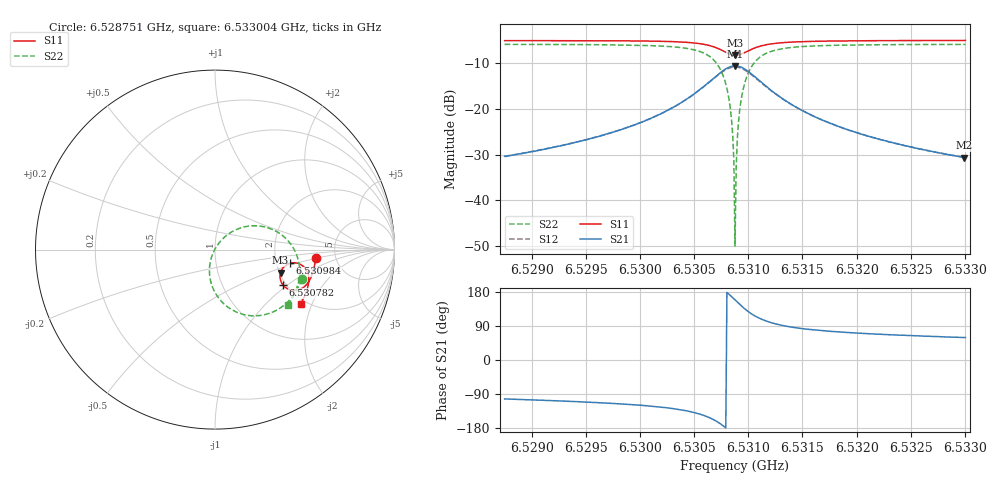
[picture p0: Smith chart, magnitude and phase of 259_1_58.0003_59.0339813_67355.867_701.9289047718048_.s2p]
#  HZ  S  RI  R  50.00
! Rohde & Schwarz Vector Network Analyzer
! Rohde-Schwarz,ZNB20-2Port,1311601062101988,3.16
! Created: UTC 3/21/2024, 1:01:53 AM
! freq[Hz]  re:S11  im:S11  re:S21  im:S21  re:S12  im:S12  re:S22  im:S22
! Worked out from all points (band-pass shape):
!   401 points, 6.528751 GHz to 6.533004 GHz, reference 50 ohm
!   highest |S21| = -10.54 dB at 6.530877 GHz (marker M1); lowest = -30.7 dB at 6.532993 GHz (marker M2)
!   |S21| within 3 dB of the highest: 6.530666 GHz to 6.531091 GHz (424.9 kHz wide, 0.00651 % of centre)
!   lowest |S11| = -8.2 dB at 6.530877 GHz (marker M3), VSWR 2.26, Z = 101 - j30.7 ohm
!   |S11| at or under -10 dB: nowhere
!   |S22| runs from -50.1 to -5.8 dB; largest |S21 - S12| = 0.012
!   S11 on the Smith chart (normalised r, x): 6.528751 GHz: 3.50, -0.48; 6.530782 GHz: 1.92, -0.92; 6.530984 GHz: 2.38, -0.44; 6.533004 GHz: 1.87, -1.65
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6.5287507e9  0.5601 -0.0465  -0.00664 -0.0295  -0.00723 -0.0294  0.4837 -0.1647
6.5294632e9  0.551 -0.1056  -0.0156 -0.042  -0.0167 -0.0416  0.4535 -0.2289
6.5301756e9  0.5243 -0.1757  -0.0482 -0.072  -0.0503 -0.0707  0.3737 -0.3182
6.5306009e9  0.4557 -0.2262  -0.1526 -0.0976  -0.1549 -0.0913  0.1733 -0.3646
6.5307073e9  0.412 -0.2221  -0.2202 -0.0723  -0.2195 -0.0631  0.0594 -0.3109
6.5307817e9  0.3777 -0.1961  -0.2701 -0.0157  -0.2647 -0.00597  -0.0148 -0.2071
6.5308136e9  0.3671 -0.1766  -0.2833 0.0218  -0.2757 0.0303  -0.03 -0.1427
6.5308349e9  0.3632 -0.1614  -0.2867 0.0499  -0.2777 0.0573  -0.0302 -0.0957
6.5308455e9  0.3623 -0.1533  -0.2863 0.0648  -0.2768 0.0712  -0.0268 -0.0716
6.5308562e9  0.3625 -0.145  -0.2845 0.0797  -0.2746 0.0852  -0.0211 -0.0476
6.5308668e9  0.3634 -0.1368  -0.2812 0.0945  -0.2709 0.0988  -0.013 -0.0243
6.5308774e9  0.3653 -0.1287  -0.2764 0.1088  -0.266 0.1124  -0.00258 -0.00177
6.5308987e9  0.3716 -0.1134  -0.2627 0.1358  -0.2523 0.1375  0.0248 0.0399
6.5309093e9  0.3759 -0.1064  -0.2538 0.1481  -0.2438 0.1488  0.041 0.0582
6.5309306e9  0.3863 -0.0941  -0.2338 0.169  -0.2244 0.1685  0.0779 0.0891
6.5309838e9  0.4184 -0.076  -0.1754 0.2003  -0.1686 0.1976  0.1796 0.1298
6.5310582e9  0.4599 -0.076  -0.1023 0.2026  -0.0989 0.1997  0.3019 0.1191
6.5311645e9  0.4966 -0.0977  -0.0394 0.1726  -0.0377 0.1711  0.4032 0.0536
6.5315899e9  0.5223 -0.1765  0.0149 0.0835  0.0161 0.0832  0.4718 -0.1337
6.5323023e9  0.5036 -0.2486  0.0171 0.0399  0.0179 0.0398  0.4427 -0.2479
6.5329935e9  0.4777 -0.3001  0.0151 0.0251  0.0156 0.0251  0.4078 -0.3072
6.5330041e9  0.4772 -0.3009  0.015 0.0252  0.0155 0.0248  0.4073 -0.3079
